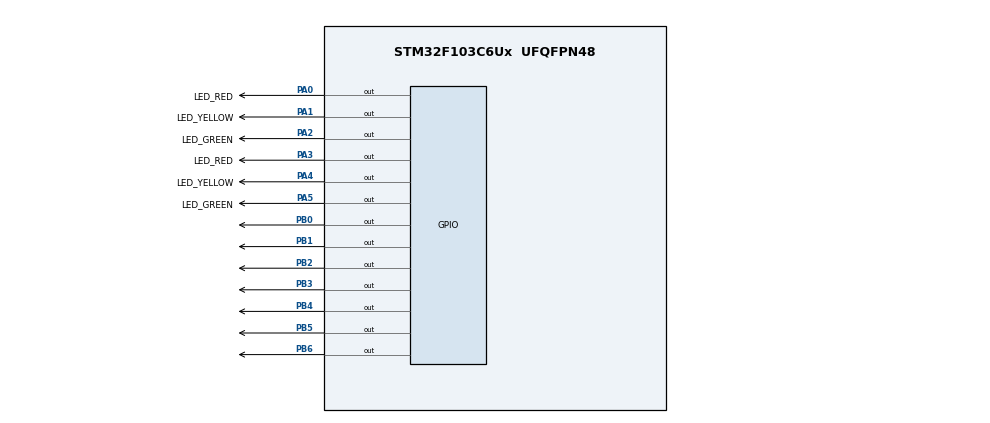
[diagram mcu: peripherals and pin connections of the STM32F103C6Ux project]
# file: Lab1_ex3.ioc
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Mcu.Family=STM32F1
Mcu.Name=STM32F103C6Ux
Mcu.Package=UFQFPN48
NVIC.PriorityGroup=NVIC_PRIORITYGROUP_4
PA0-WKUP.GPIO_Label=LED_RED
PA0-WKUP.Signal=GPIO_Output
PA1.GPIO_Label=LED_YELLOW
PA1.Signal=GPIO_Output
PA2.GPIO_Label=LED_GREEN
PA2.Signal=GPIO_Output
PA3.GPIO_Label=LED_RED
PA3.Signal=GPIO_Output
PA4.GPIO_Label=LED_YELLOW
PA4.Signal=GPIO_Output
PA5.GPIO_Label=LED_GREEN
PA5.Signal=GPIO_Output
PB0.Signal=GPIO_Output
PB1.Signal=GPIO_Output
PB2.Signal=GPIO_Output
PB3.Signal=GPIO_Output
PB4.Signal=GPIO_Output
PB5.Signal=GPIO_Output
PB6.Signal=GPIO_Output
ProjectManager.HeapSize=0x200
ProjectManager.StackSize=0x400
ProjectManager.TargetToolchain=STM32CubeIDE
RCC.APB1Freq_Value=8000000
RCC.APB2Freq_Value=8000000
VP_SYS_VS_ND.Mode=No_Debug
board=custom

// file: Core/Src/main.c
/* USER CODE BEGIN Header */
/**
  ******************************************************************************
  * @file           : main.c
  * @brief          : Main program body
  ******************************************************************************
  * @attention
  *
  * <h2><center>&copy; Copyright (c) 2025 STMicroelectronics.
  * All rights reserved.</center></h2>
  *
  * This software component is licensed by ST under BSD 3-Clause license,
  * the "License"; You may not use this file except in compliance with the
  * License. You may obtain a copy of the License at:
  *                        opensource.org/licenses/BSD-3-Clause
  *
  ******************************************************************************
  */
/* USER CODE END Header */
#include "main.h"

void SystemClock_Config(void);
static void MX_GPIO_Init(void);

/* USER CODE BEGIN 0 */
int counter = 0;
void Set_Traffic(uint8_t dir, GPIO_PinState red, GPIO_PinState yellow, GPIO_PinState green)
{
  switch (dir)
  {
    case 1:
		  HAL_GPIO_WritePin(GPIOA, GPIO_PIN_0, red);
		  HAL_GPIO_WritePin(GPIOA, GPIO_PIN_1, yellow);
		  HAL_GPIO_WritePin(GPIOA, GPIO_PIN_2, green);
		  break;
    case 2:
		  HAL_GPIO_WritePin(GPIOA, GPIO_PIN_3, red);
		  HAL_GPIO_WritePin(GPIOA, GPIO_PIN_4, yellow);
		  HAL_GPIO_WritePin(GPIOA, GPIO_PIN_5, green);
		  break;
  }
}
void display7SEG(uint8_t num){
	if (num > 9) return;
	switch (num)
	{
	case 0:
		HAL_GPIO_WritePin(GPIOB, GPIO_PIN_0, GPIO_PIN_RESET);
		HAL_GPIO_WritePin(GPIOB, GPIO_PIN_1, GPIO_PIN_RESET);
		HAL_GPIO_WritePin(GPIOB, GPIO_PIN_2, GPIO_PIN_RESET);
		HAL_GPIO_WritePin(GPIOB, GPIO_PIN_3, GPIO_PIN_RESET);
		HAL_GPIO_WritePin(GPIOB, GPIO_PIN_4, GPIO_PIN_RESET);
		HAL_GPIO_WritePin(GPIOB, GPIO_PIN_5, GPIO_PIN_RESET);
		HAL_GPIO_WritePin(GPIOB, GPIO_PIN_6, GPIO_PIN_SET);
		break;
	case 1:
		HAL_GPIO_WritePin(GPIOB, GPIO_PIN_0, GPIO_PIN_SET);
		HAL_GPIO_WritePin(GPIOB, GPIO_PIN_1, GPIO_PIN_RESET);
		HAL_GPIO_WritePin(GPIOB, GPIO_PIN_2, GPIO_PIN_RESET);
		HAL_GPIO_WritePin(GPIOB, GPIO_PIN_3, GPIO_PIN_SET);
		HAL_GPIO_WritePin(GPIOB, GPIO_PIN_4, GPIO_PIN_SET);
		HAL_GPIO_WritePin(GPIOB, GPIO_PIN_5, GPIO_PIN_SET);
		HAL_GPIO_WritePin(GPIOB, GPIO_PIN_6, GPIO_PIN_SET);
		break;
	case 2:
		HAL_GPIO_WritePin(GPIOB, GPIO_PIN_0, GPIO_PIN_RESET);
		HAL_GPIO_WritePin(GPIOB, GPIO_PIN_1, GPIO_PIN_RESET);
		HAL_GPIO_WritePin(GPIOB, GPIO_PIN_2, GPIO_PIN_SET);
		HAL_GPIO_WritePin(GPIOB, GPIO_PIN_3, GPIO_PIN_RESET);
		HAL_GPIO_WritePin(GPIOB, GPIO_PIN_4, GPIO_PIN_RESET);
		HAL_GPIO_WritePin(GPIOB, GPIO_PIN_5, GPIO_PIN_SET);
		HAL_GPIO_WritePin(GPIOB, GPIO_PIN_6, GPIO_PIN_RESET);
		break;
	case 3:
		HAL_GPIO_WritePin(GPIOB, GPIO_PIN_0, GPIO_PIN_RESET);
		HAL_GPIO_WritePin(GPIOB, GPIO_PIN_1, GPIO_PIN_RESET);
		HAL_GPIO_WritePin(GPIOB, GPIO_PIN_2, GPIO_PIN_RESET);
		HAL_GPIO_WritePin(GPIOB, GPIO_PIN_3, GPIO_PIN_RESET);
		HAL_GPIO_WritePin(GPIOB, GPIO_PIN_4, GPIO_PIN_SET);
		HAL_GPIO_WritePin(GPIOB, GPIO_PIN_5, GPIO_PIN_SET);
		HAL_GPIO_WritePin(GPIOB, GPIO_PIN_6, GPIO_PIN_RESET);
		break;
	case 4:
        HAL_GPIO_WritePin(GPIOB, GPIO_PIN_0, GPIO_PIN_SET);
        HAL_GPIO_WritePin(GPIOB, GPIO_PIN_1, GPIO_PIN_RESET);
        HAL_GPIO_WritePin(GPIOB, GPIO_PIN_2, GPIO_PIN_RESET);
        HAL_GPIO_WritePin(GPIOB, GPIO_PIN_3, GPIO_PIN_SET);
        HAL_GPIO_WritePin(GPIOB, GPIO_PIN_4, GPIO_PIN_SET);
        HAL_GPIO_WritePin(GPIOB, GPIO_PIN_5, GPIO_PIN_RESET);
        HAL_GPIO_WritePin(GPIOB, GPIO_PIN_6, GPIO_PIN_RESET);
        break;
	case 5:
		HAL_GPIO_WritePin(GPIOB, GPIO_PIN_0, GPIO_PIN_RESET);
		HAL_GPIO_WritePin(GPIOB, GPIO_PIN_1, GPIO_PIN_SET);
		HAL_GPIO_WritePin(GPIOB, GPIO_PIN_2, GPIO_PIN_RESET);
		HAL_GPIO_WritePin(GPIOB, GPIO_PIN_3, GPIO_PIN_RESET);
		HAL_GPIO_WritePin(GPIOB, GPIO_PIN_4, GPIO_PIN_SET);
		HAL_GPIO_WritePin(GPIOB, GPIO_PIN_5, GPIO_PIN_RESET);
		HAL_GPIO_WritePin(GPIOB, GPIO_PIN_6, GPIO_PIN_RESET);
		break;
	case 6:
		HAL_GPIO_WritePin(GPIOB, GPIO_PIN_0, GPIO_PIN_RESET);
		HAL_GPIO_WritePin(GPIOB, GPIO_PIN_1, GPIO_PIN_SET);
		HAL_GPIO_WritePin(GPIOB, GPIO_PIN_2, GPIO_PIN_RESET);
		HAL_GPIO_WritePin(GPIOB, GPIO_PIN_3, GPIO_PIN_RESET);
		HAL_GPIO_WritePin(GPIOB, GPIO_PIN_4, GPIO_PIN_RESET);
		HAL_GPIO_WritePin(GPIOB, GPIO_PIN_5, GPIO_PIN_RESET);
		HAL_GPIO_WritePin(GPIOB, GPIO_PIN_6, GPIO_PIN_RESET);
		break;
	case 7:
		HAL_GPIO_WritePin(GPIOB, GPIO_PIN_0, GPIO_PIN_RESET);
		HAL_GPIO_WritePin(GPIOB, GPIO_PIN_1, GPIO_PIN_RESET);
		HAL_GPIO_WritePin(GPIOB, GPIO_PIN_2, GPIO_PIN_RESET);
		HAL_GPIO_WritePin(GPIOB, GPIO_PIN_3, GPIO_PIN_SET);
		HAL_GPIO_WritePin(GPIOB, GPIO_PIN_4, GPIO_PIN_SET);
		HAL_GPIO_WritePin(GPIOB, GPIO_PIN_5, GPIO_PIN_SET);
		HAL_GPIO_WritePin(GPIOB, GPIO_PIN_6, GPIO_PIN_SET);
		break;
	case 8:
		HAL_GPIO_WritePin(GPIOB, GPIO_PIN_0, GPIO_PIN_RESET);
		HAL_GPIO_WritePin(GPIOB, GPIO_PIN_1, GPIO_PIN_RESET);
		HAL_GPIO_WritePin(GPIOB, GPIO_PIN_2, GPIO_PIN_RESET);
		HAL_GPIO_WritePin(GPIOB, GPIO_PIN_3, GPIO_PIN_RESET);
		HAL_GPIO_WritePin(GPIOB, GPIO_PIN_4, GPIO_PIN_RESET);
		HAL_GPIO_WritePin(GPIOB, GPIO_PIN_5, GPIO_PIN_RESET);
		HAL_GPIO_WritePin(GPIOB, GPIO_PIN_6, GPIO_PIN_RESET);
		break;
	case 9:
		HAL_GPIO_WritePin(GPIOB, GPIO_PIN_0, GPIO_PIN_RESET);
		HAL_GPIO_WritePin(GPIOB, GPIO_PIN_1, GPIO_PIN_RESET);
		HAL_GPIO_WritePin(GPIOB, GPIO_PIN_2, GPIO_PIN_RESET);
		HAL_GPIO_WritePin(GPIOB, GPIO_PIN_3, GPIO_PIN_RESET);
		HAL_GPIO_WritePin(GPIOB, GPIO_PIN_4, GPIO_PIN_SET);
		HAL_GPIO_WritePin(GPIOB, GPIO_PIN_5, GPIO_PIN_RESET);
		HAL_GPIO_WritePin(GPIOB, GPIO_PIN_6, GPIO_PIN_RESET);
		break;
	default:
		HAL_GPIO_WritePin(GPIOB, GPIO_PIN_0, GPIO_PIN_SET);
		HAL_GPIO_WritePin(GPIOB, GPIO_PIN_1, GPIO_PIN_SET);
		HAL_GPIO_WritePin(GPIOB, GPIO_PIN_2, GPIO_PIN_SET);
		HAL_GPIO_WritePin(GPIOB, GPIO_PIN_3, GPIO_PIN_SET);
		HAL_GPIO_WritePin(GPIOB, GPIO_PIN_4, GPIO_PIN_SET);
		HAL_GPIO_WritePin(GPIOB, GPIO_PIN_5, GPIO_PIN_SET);
		HAL_GPIO_WritePin(GPIOB, GPIO_PIN_6, GPIO_PIN_SET);
		break;
	}
}
/* USER CODE END 0 */

int main(void)
{

  /* MCU Configuration--------------------------------------------------------*/

  /* Reset of all peripherals, Initializes the Flash interface and the Systick. */
  HAL_Init();

  /* Configure the system clock */
  SystemClock_Config();

  /* Initialize all configured peripherals */
  MX_GPIO_Init();

  /* Infinite loop */
  /* USER CODE BEGIN WHILE */
  while (1)
  {
	  if( counter >= 10) counter = 0;
	  display7SEG ( counter ++) ;
	  HAL_Delay(1000) ;
	  //Set_Traffic(1, GPIO_PIN_SET, GPIO_PIN_SET, GPIO_PIN_RESET);
	  //Set_Traffic(2, GPIO_PIN_RESET, GPIO_PIN_SET, GPIO_PIN_SET);
	  //HAL_Delay(5000);

	  //Set_Traffic(1, GPIO_PIN_SET, GPIO_PIN_RESET, GPIO_PIN_SET);
	  //HAL_Delay(2000);

	  //Set_Traffic(1, GPIO_PIN_RESET, GPIO_PIN_SET, GPIO_PIN_SET);
	  //Set_Traffic(2, GPIO_PIN_SET, GPIO_PIN_SET, GPIO_PIN_RESET);
	  //HAL_Delay(5000);

	  //Set_Traffic(2, GPIO_PIN_SET, GPIO_PIN_RESET, GPIO_PIN_SET);
	  //HAL_Delay(2000);

    /* USER CODE END WHILE */

  }
}

void SystemClock_Config(void)
{
  RCC_OscInitTypeDef RCC_OscInitStruct = {0};
  RCC_ClkInitTypeDef RCC_ClkInitStruct = {0};

  /** Initializes the RCC Oscillators according to the specified parameters
  * in the RCC_OscInitTypeDef structure.
  */
  RCC_OscInitStruct.OscillatorType = RCC_OSCILLATORTYPE_HSI;
  RCC_OscInitStruct.HSIState = RCC_HSI_ON;
  RCC_OscInitStruct.HSICalibrationValue = RCC_HSICALIBRATION_DEFAULT;
  RCC_OscInitStruct.PLL.PLLState = RCC_PLL_NONE;
  if (HAL_RCC_OscConfig(&RCC_OscInitStruct) != HAL_OK)
  {
    Error_Handler();
  }
  /** Initializes the CPU, AHB and APB buses clocks
  */
  RCC_ClkInitStruct.ClockType = RCC_CLOCKTYPE_HCLK|RCC_CLOCKTYPE_SYSCLK
                              |RCC_CLOCKTYPE_PCLK1|RCC_CLOCKTYPE_PCLK2;
  RCC_ClkInitStruct.SYSCLKSource = RCC_SYSCLKSOURCE_HSI;
  RCC_ClkInitStruct.AHBCLKDivider = RCC_SYSCLK_DIV1;
  RCC_ClkInitStruct.APB1CLKDivider = RCC_HCLK_DIV1;
  RCC_ClkInitStruct.APB2CLKDivider = RCC_HCLK_DIV1;

  if (HAL_RCC_ClockConfig(&RCC_ClkInitStruct, FLASH_LATENCY_0) != HAL_OK)
  {
    Error_Handler();
  }
}

static void MX_GPIO_Init(void)
{
  GPIO_InitTypeDef GPIO_InitStruct = {0};

  /* GPIO Ports Clock Enable */
  __HAL_RCC_GPIOA_CLK_ENABLE();
  __HAL_RCC_GPIOB_CLK_ENABLE();

  /*Configure GPIO pin Output Level */
  HAL_GPIO_WritePin(GPIOA, LED_RED_Pin|LED_YELLOW_Pin|LED_GREEN_Pin|LED_REDA3_Pin
                          |LED_YELLOWA4_Pin|LED_GREENA5_Pin, GPIO_PIN_RESET);

  /*Configure GPIO pin Output Level */
  HAL_GPIO_WritePin(GPIOB, GPIO_PIN_0|GPIO_PIN_1|GPIO_PIN_2|GPIO_PIN_3
                          |GPIO_PIN_4|GPIO_PIN_5|GPIO_PIN_6, GPIO_PIN_RESET);

  /*Configure GPIO pins : LED_RED_Pin LED_YELLOW_Pin LED_GREEN_Pin LED_REDA3_Pin
                           LED_YELLOWA4_Pin LED_GREENA5_Pin */
  GPIO_InitStruct.Pin = LED_RED_Pin|LED_YELLOW_Pin|LED_GREEN_Pin|LED_REDA3_Pin
                          |LED_YELLOWA4_Pin|LED_GREENA5_Pin;
  GPIO_InitStruct.Mode = GPIO_MODE_OUTPUT_PP;
  GPIO_InitStruct.Pull = GPIO_NOPULL;
  GPIO_InitStruct.Speed = GPIO_SPEED_FREQ_LOW;
  HAL_GPIO_Init(GPIOA, &GPIO_InitStruct);

  /*Configure GPIO pins : PB0 PB1 PB2 PB3
                           PB4 PB5 PB6 */
  GPIO_InitStruct.Pin = GPIO_PIN_0|GPIO_PIN_1|GPIO_PIN_2|GPIO_PIN_3
                          |GPIO_PIN_4|GPIO_PIN_5|GPIO_PIN_6;
  GPIO_InitStruct.Mode = GPIO_MODE_OUTPUT_PP;
  GPIO_InitStruct.Pull = GPIO_NOPULL;
  GPIO_InitStruct.Speed = GPIO_SPEED_FREQ_LOW;
  HAL_GPIO_Init(GPIOB, &GPIO_InitStruct);

}

void Error_Handler(void)
{
  __disable_irq();
  while (1)
  {
  }
}

/************************ (C) COPYRIGHT STMicroelectronics *****END OF FILE****/
